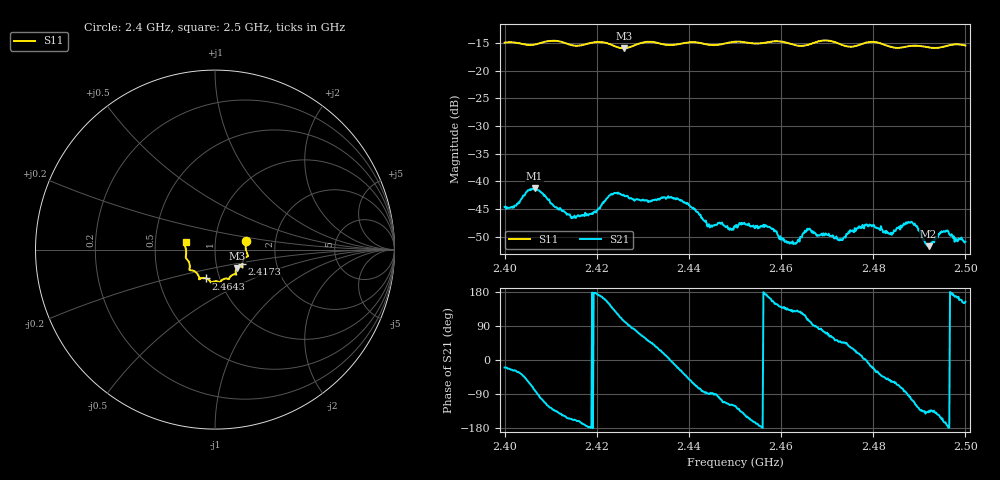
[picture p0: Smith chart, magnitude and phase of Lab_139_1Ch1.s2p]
# Hz S RI R 50
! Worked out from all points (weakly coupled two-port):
!   601 points, 2.4 GHz to 2.5 GHz, reference 50 ohm
!   highest |S21| = -41.21 dB at 2.4065 GHz (marker M1); lowest = -51.7 dB at 2.492 GHz (marker M2)
!   lowest |S11| = -15.9 dB at 2.4258 GHz (marker M3), VSWR 1.38, Z = 62.3 - j13.2 ohm
!   |S11| at or under -10 dB: start of sweep to end of sweep
!   S12 and S22 are empty: the file has one direction only
!   S11 on the Smith chart (normalised r, x): 2.4 GHz: 1.41, +0.14; 2.4173 GHz: 1.34, -0.23; 2.4643 GHz: 0.86, -0.28; 2.5 GHz: 0.72, +0.06
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2.4e9  0.173 0.0487  0.00552 -0.00199  0 0  0 0
2.4065e9  0.1725 -0.00429  0.00167 -0.00854  0 0  0 0
2.414e9  0.1663 -0.0474  -0.0045 -0.00213  0 0  0 0
2.416667e9  0.1525 -0.0749  -0.00477 -0.00123  0 0  0 0
2.417333e9  0.1517 -0.0823  -0.00479 -0.000794  0 0  0 0
2.423333e9  0.1427 -0.094  -0.0056 0.0051  0 0  0 0
2.425833e9  0.1218 -0.1035  -0.00173 0.00736  0 0  0 0
2.433333e9  0.1126 -0.1377  0.00601 0.00348  0 0  0 0
2.438e9  0.0818 -0.1544  0.00611 -0.00298  0 0  0 0
2.4445e9  0.0595 -0.161  -1.8e-05 -0.00382  0 0  0 0
2.45e9  0.029 -0.1809  -0.002 -0.00329  0 0  0 0
2.457e9  -0.0141 -0.1803  -0.00379 0.000769  0 0  0 0
2.461833e9  -0.0296 -0.1738  -0.00182 0.00203  0 0  0 0
2.464333e9  -0.0498 -0.1604  -0.00173 0.00259  0 0  0 0
2.466667e9  -0.0758 -0.1591  -0.00036 0.00343  0 0  0 0
2.472833e9  -0.0905 -0.1487  0.00195 0.00227  0 0  0 0
2.478167e9  -0.1365 -0.1151  0.004 0.000197  0 0  0 0
2.483333e9  -0.1405 -0.0899  0.00207 -0.00265  0 0  0 0
2.488167e9  -0.1605 -0.0492  -0.000932 -0.00415  0 0  0 0
2.492e9  -0.1608 -0.0256  -0.00192 -0.00173  0 0  0 0
2.495667e9  -0.1659 0.0165  -0.00336 -0.000933  0 0  0 0
2.5e9  -0.1638 0.0424  -0.00254 0.00126  0 0  0 0
